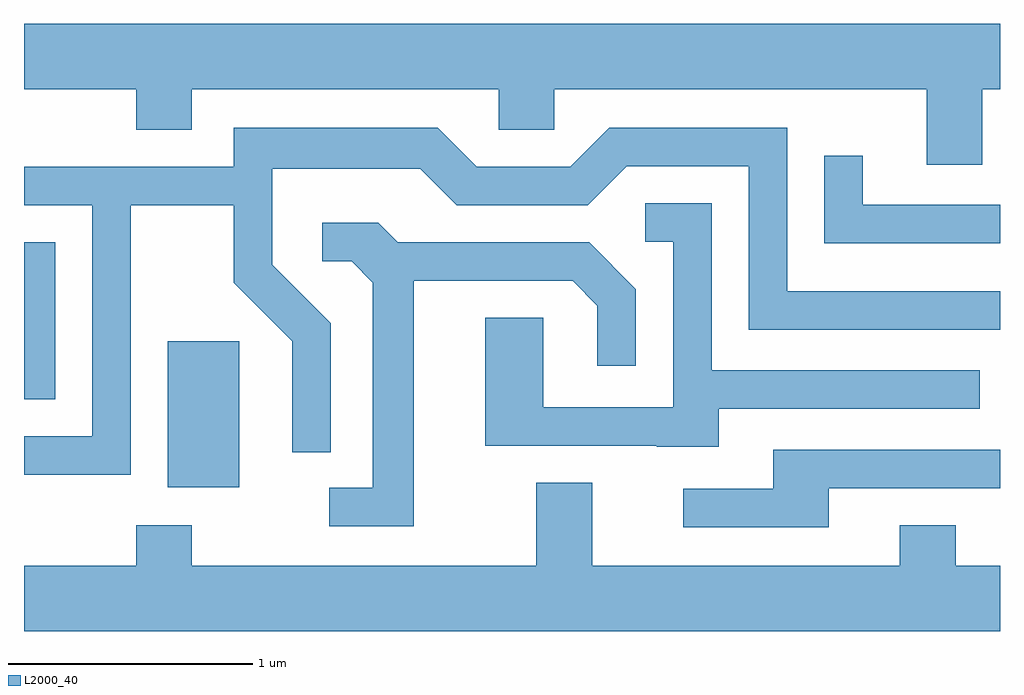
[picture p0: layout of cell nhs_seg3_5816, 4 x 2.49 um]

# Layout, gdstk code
import gdstk
lib = gdstk.Library(unit=1e-6, precision=1e-09)
def R(c, l, rs):  # rectangles x0, y0, x1, y1
    for r in rs: c.add(gdstk.rectangle(r[:2], r[2:], *l))
def P(c, l, *ps):  # polygons
    for p in ps: c.add(gdstk.Polygon(p, *l))
L2000_40 = (2000, 40)

nhs_seg3_5816 = lib.new_cell('nhs_seg3_5816')
R(nhs_seg3_5816, L2000_40, [(356.201,1197.646,356.494,1198.244), (355.611,1198.006,355.739,1198.649)])
P(nhs_seg3_5816, L2000_40, [(359.539,1199.276),(359.611,1199.276),(359.611,1199.544),(355.611,1199.544),(355.611,1199.276),(356.071,1199.276),(356.071,1199.111),(356.299,1199.111),(356.299,1199.276),(357.556,1199.276),(357.556,1199.111),(357.784,1199.111),(357.784,1199.276),(359.311,1199.276),(359.311,1198.966),(359.539,1198.966)],
  [(356.049,1198.801),(356.471,1198.801),(356.471,1198.484),(356.711,1198.244),(356.711,1197.788),(356.869,1197.788),(356.869,1198.317),(356.629,1198.557),(356.629,1198.951),(357.234,1198.951),(357.384,1198.801),(357.922,1198.801),(358.082,1198.961),(358.581,1198.961),(358.581,1198.291),(359.611,1198.291),(359.611,1198.449),(358.739,1198.449),(358.739,1199.119),(358.009,1199.119),(357.849,1198.959),(357.467,1198.959),(357.307,1199.119),(356.471,1199.119),(356.471,1198.959),(355.611,1198.959),(355.611,1198.801),(355.891,1198.801),(355.891,1197.854),(355.611,1197.854),(355.611,1197.696),(356.049,1197.696)],
  [(359.611,1198.804),(359.049,1198.804),(359.049,1199.003),(358.891,1199.003),(358.891,1198.646),(359.611,1198.646)],
  [(358.459,1197.966),(359.528,1197.966),(359.528,1198.124),(358.429,1198.124),(358.429,1198.809),(358.158,1198.809),(358.158,1198.651),(358.271,1198.651),(358.271,1197.974),(357.739,1197.974),(357.739,1198.339),(357.501,1198.339),(357.501,1197.816),(358.205,1197.816),(358.205,1197.811),(358.459,1197.811)],
  [(357.209,1198.491),(357.859,1198.491),(357.961,1198.389),(357.961,1198.143),(358.119,1198.143),(358.119,1198.457),(357.927,1198.649),(357.142,1198.649),(357.062,1198.729),(356.833,1198.729),(356.833,1198.571),(356.954,1198.571),(357.041,1198.484),(357.041,1197.644),(356.863,1197.644),(356.863,1197.486),(357.209,1197.486)],
  [(358.909,1197.641),(359.611,1197.641),(359.611,1197.799),(358.681,1197.799),(358.681,1197.639),(358.313,1197.639),(358.313,1197.481),(358.909,1197.481)],
  [(359.611,1197.324),(359.429,1197.324),(359.429,1197.489),(359.201,1197.489),(359.201,1197.324),(357.939,1197.324),(357.939,1197.664),(357.711,1197.664),(357.711,1197.324),(356.299,1197.324),(356.299,1197.489),(356.071,1197.489),(356.071,1197.324),(355.611,1197.324),(355.611,1197.056),(359.611,1197.056)])

lib.write_gds('nhs_seg3_5816.gds')
